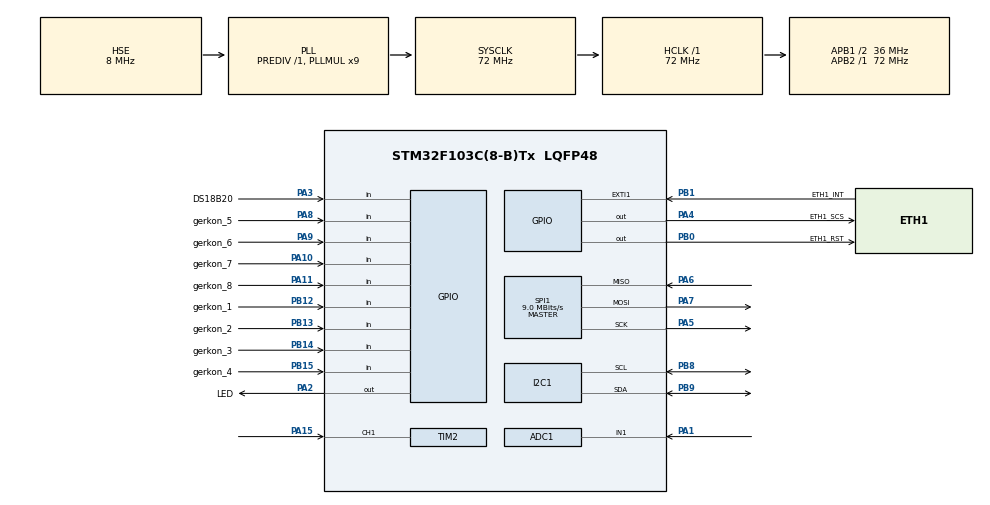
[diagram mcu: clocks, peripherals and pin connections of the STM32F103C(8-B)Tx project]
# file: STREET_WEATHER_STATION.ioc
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ADC1.Channel-2\#ChannelRegularConversion=ADC_CHANNEL_1
ADC1.NbrOfConversionFlag=1
ADC1.Rank-2\#ChannelRegularConversion=1
ADC1.SamplingTime-2\#ChannelRegularConversion=ADC_SAMPLETIME_1CYCLE_5
ADC1.master=1
I2C1.I2C_Mode=I2C_Fast
Mcu.Family=STM32F1
Mcu.Name=STM32F103C(8-B)Tx
Mcu.Package=LQFP48
NVIC.PriorityGroup=NVIC_PRIORITYGROUP_4
NVIC.TIM1_UP_IRQn=true\:0\:0\:false\:false\:true\:true\:true\:true
NVIC.TIM2_IRQn=true\:0\:0\:false\:false\:true\:true\:true\:true
NVIC.TIM4_IRQn=true\:0\:0\:false\:false\:true\:true\:true\:true
PA1.Signal=ADCx_IN1
PA10.GPIO_Label=gerkon_7
PA10.Signal=GPIO_Input
PA11.GPIO_Label=gerkon_8
PA11.Signal=GPIO_Input
PA13.Mode=Serial_Wire
PA13.Signal=SYS_JTMS-SWDIO
PA14.Mode=Serial_Wire
PA14.Signal=SYS_JTCK-SWCLK
PA15.Signal=S_TIM2_CH1_ETR
PA2.GPIO_Label=LED
PA2.Signal=GPIO_Output
PA3.GPIO_Label=DS18B20
PA3.Signal=GPIO_Input
PA4.GPIO_Label=ETH1_SCS
PA4.GPIO_PuPd=GPIO_NOPULL
PA4.PinState=GPIO_PIN_SET
PA4.Signal=GPIO_Output
PA5.Mode=Full_Duplex_Master
PA5.Signal=SPI1_SCK
PA6.Mode=Full_Duplex_Master
PA6.Signal=SPI1_MISO
PA7.Mode=Full_Duplex_Master
PA7.Signal=SPI1_MOSI
PA8.GPIO_Label=gerkon_5
PA8.Signal=GPIO_Input
PA9.GPIO_Label=gerkon_6
PA9.Signal=GPIO_Input
PB0.GPIO_Label=ETH1_RST
PB0.GPIO_PuPd=GPIO_NOPULL
PB0.PinState=GPIO_PIN_SET
PB0.Signal=GPIO_Output
PB1.GPIO_Label=ETH1_INT
PB1.GPIO_PuPd=GPIO_NOPULL
PB1.Signal=GPXTI1
PB12.GPIO_Label=gerkon_1
PB12.Signal=GPIO_Input
PB13.GPIO_Label=gerkon_2
PB13.Signal=GPIO_Input
PB14.GPIO_Label=gerkon_3
PB14.Signal=GPIO_Input
PB15.GPIO_Label=gerkon_4
PB15.Signal=GPIO_Input
PB8.Mode=I2C
PB8.Signal=I2C1_SCL
PB9.Mode=I2C
PB9.Signal=I2C1_SDA
PD0-OSC_IN.Mode=HSE-External-Oscillator
PD0-OSC_IN.Signal=RCC_OSC_IN
PD1-OSC_OUT.Mode=HSE-External-Oscillator
PD1-OSC_OUT.Signal=RCC_OSC_OUT
ProjectManager.HeapSize=0x200
ProjectManager.StackSize=0x400
ProjectManager.TargetToolchain=MDK-ARM V5.32
RCC.ADCPresc=RCC_ADCPCLK2_DIV6
RCC.AHBFreq_Value=72000000
RCC.APB1CLKDivider=RCC_HCLK_DIV2
RCC.APB1Freq_Value=36000000
RCC.APB1TimFreq_Value=72000000
RCC.APB2Freq_Value=72000000
RCC.APB2TimFreq_Value=72000000
RCC.HCLKFreq_Value=72000000
RCC.PLLMUL=RCC_PLL_MUL9
RCC.PLLSourceVirtual=RCC_PLLSOURCE_HSE
RCC.SYSCLKFreq_VALUE=72000000
RCC.SYSCLKSource=RCC_SYSCLKSOURCE_PLLCLK
RCC.USBFreq_Value=72000000
SH.ADCx_IN1.0=ADC1_IN1,IN1
SH.S_TIM2_CH1_ETR.0=TIM2_CH1,Input_Capture1_from_TI1
SPI1.BaudRatePrescaler=SPI_BAUDRATEPRESCALER_8
SPI1.CalculateBaudRate=9.0 MBits/s
SPI1.Direction=SPI_DIRECTION_2LINES
SPI1.Mode=SPI_MODE_MASTER
SPI1.VirtualType=VM_MASTER
TIM1.Period=49999
TIM1.Prescaler=7199
TIM2.Channel-Input_Capture1_from_TI1=TIM_CHANNEL_1
TIM2.ICPolarity_CH1=TIM_INPUTCHANNELPOLARITY_FALLING
TIM2.Period=29999
TIM2.Prescaler=7199
TIM2.TIM_MasterOutputTrigger=TIM_TRGO_RESET
TIM3.Prescaler=35
TIM4.Period=49999
TIM4.Prescaler=7199
TIM4.TIM_MasterOutputTrigger=TIM_TRGO_UPDATE
VP_TIM1_VS_ClockSourceINT.Mode=Internal
VP_TIM2_VS_ClockSourceINT.Mode=Internal
VP_TIM3_VS_ClockSourceINT.Mode=Internal
VP_TIM4_VS_ClockSourceINT.Mode=Internal
board=custom

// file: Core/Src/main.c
/* USER CODE BEGIN Header */
/**
  ******************************************************************************
  * @file           : main.c
  * @brief          : Main program body
  ******************************************************************************
  * @attention
  *
  * Copyright (c) 2023 STMicroelectronics.
  * All rights reserved.
  *
  * This software is licensed under terms that can be found in the LICENSE file
  * in the root directory of this software component.
  * If no LICENSE file comes with this software, it is provided AS-IS.
  *
  ******************************************************************************
  */
/* USER CODE END Header */
#include "main.h"

 ADC_HandleTypeDef hadc1;

I2C_HandleTypeDef hi2c1;

SPI_HandleTypeDef hspi1;

TIM_HandleTypeDef htim1;
TIM_HandleTypeDef htim2;
TIM_HandleTypeDef htim3;
TIM_HandleTypeDef htim4;

void SystemClock_Config(void);
static void MX_GPIO_Init(void);
static void MX_I2C1_Init(void);
static void MX_SPI1_Init(void);
static void MX_TIM2_Init(void);
static void MX_TIM4_Init(void);
static void MX_TIM3_Init(void);
static void MX_TIM1_Init(void);
static void MX_ADC1_Init(void);

/* USER CODE BEGIN 0 */
extern w5500_data w5500_1; // Настройки первой микросхемы w5500
extern w5500_data* w5500_1_ptr;
extern ram_data_struct ram_data;	//Пространство памяти ОЗУ (куда зеркализованы в т.ч. и данные из ПЗУ)
extern ram_data_struct *ram_ptr;	// Указатель на данные ОЗУ
uint8_t is_tim2_irq; // Флаг, указывающий на наличие события TIM2_IRQ
uint8_t hours_delta; // Локальный счетчик часов
/* USER CODE END 0 */

int main(void)
{

  /* MCU Configuration--------------------------------------------------------*/

  /* Reset of all peripherals, Initializes the Flash interface and the Systick. */
  HAL_Init();

  /* Configure the system clock */
  SystemClock_Config();

  /* USER CODE BEGIN SysInit */
	// Костыль, с которым не возникает проблем с инициализацией i2c
	HAL_Delay(2000);
  /* USER CODE END SysInit */

  /* Initialize all configured peripherals */
  MX_GPIO_Init();
  MX_I2C1_Init();
  MX_SPI1_Init();
  MX_TIM2_Init();
  MX_TIM4_Init();
  MX_TIM3_Init();
  MX_TIM1_Init();
  MX_ADC1_Init();
  /* USER CODE BEGIN 2 */

	// Запуск таймеров и прерываний
	HAL_TIM_Base_Start_IT(&htim1);
	HAL_TIM_Base_Start_IT(&htim2);
	HAL_TIM_Base_Start_IT(&htim4);
	HAL_TIM_Base_Start(&htim3);
	HAL_TIM_IC_Start_IT(&htim2, TIM_CHANNEL_1);

	// Калибровка АЦП
	HAL_ADCEx_Calibration_Start(&hadc1);

	// Заполнение таблицы CRC32
	fill_crc32_table();

	// Инициализация пространства памяти ПЗУ (прошиваются ПЗУ 1 раз)
#ifdef EEPROM_DEFAULT_INIT
	eeproms_first_ini(&USED_I2C);
#endif

	// Зеркализация данных из ПЗУ в ОЗУ
	eeprom_read(&USED_I2C, 0, (uint8_t*)ram_ptr, sizeof(ram_data.common.mirrored_to_rom_regs));

	// Инициализация контроллера Ethernet1 настройками из ПЗУ
	memcpy(w5500_1_ptr->ipaddr, &ram_data.common.mirrored_to_rom_regs.common.ip_addr_1, sizeof(ram_data.common.mirrored_to_rom_regs.common.ip_addr_1));
	memcpy(w5500_1_ptr->ipgate, &ram_data.common.mirrored_to_rom_regs.common.ip_gate, sizeof(ram_data.common.mirrored_to_rom_regs.common.ip_gate));
	memcpy(w5500_1_ptr->ipmask, &ram_data.common.mirrored_to_rom_regs.common.ip_mask, sizeof(ram_data.common.mirrored_to_rom_regs.common.ip_mask));
	memcpy(w5500_1_ptr->macaddr, &ram_data.common.mirrored_to_rom_regs.common.mac_addr_1, sizeof(ram_data.common.mirrored_to_rom_regs.common.mac_addr_1));
	w5500_1_ptr->spi_n = &hspi1;
	w5500_1_ptr->port_set[0].local_port = ram_data.common.mirrored_to_rom_regs.common.local_port[0];
	w5500_1_ptr->port_set[1].local_port = ram_data.common.mirrored_to_rom_regs.common.local_port[1];
	w5500_1_ptr->port_set[0].sock_num = 0;
	w5500_1_ptr->port_set[1].sock_num = 1;
	w5500_1_ptr->port_set[0].is_soc_active = 1;
	w5500_1_ptr->port_set[1].is_soc_active = 1;
	w5500_1_ptr->port_set[0].is_client = 0;
	w5500_1_ptr->port_set[1].is_client = 0;
	w5500_1_ptr->port_set[0].htim = &htim4;
	w5500_1_ptr->port_set[1].htim = &htim1;
	w5500_1_ptr->cs_eth_gpio_port = GPIOA;
	w5500_1_ptr->cs_eth_pin = GPIO_PIN_4;
	w5500_1_ptr->rst_eth_gpio_port = GPIOB;
	w5500_1_ptr->rst_eth_pin = GPIO_PIN_0;
	w5500_hardware_rst(w5500_1_ptr);
	w5500_ini(w5500_1_ptr);

	// Инициализация датчиков
	ds18b20_init(GPIOA, GPIO_PIN_3, SKIP_ROM);

  /* USER CODE END 2 */

  /* Infinite loop */
  while (1)
  {

    /* USER CODE BEGIN 3 */
		//обновление показаний датчиков
#ifdef HTU21D_DEFAULT_SENS
		if (HTU21D_get_temperature(&hi2c1, (float*)&ram_data.uniq.str_weath_stat.temperature) != HTU21D_ERROR)
			ram_data.uniq.str_weath_stat.temperature +=ram_data.common.mirrored_to_rom_regs.common.temp_correction;
#else
		if (ds18b20_get_temp(GPIOA, GPIO_PIN_3, (float*)&ram_data.uniq.str_weath_stat.temperature) != DS18B20_ERROR)
			ram_data.uniq.str_weath_stat.temperature +=ram_data.common.mirrored_to_rom_regs.common.temp_correction;
#endif
		if (HTU21D_get_humidity(&hi2c1, (float*)&ram_data.uniq.str_weath_stat.humidity) != HTU21D_ERROR)
			ram_data.uniq.str_weath_stat.humidity += ram_data.common.mirrored_to_rom_regs.common.hum_correction;
		get_wind_direct(&ram_data.uniq.str_weath_stat.wind_direct);
		ram_data.uniq.str_weath_stat.rainfall = get_rain_fall(&hadc1);

		// серверная часть (взаимодействие с raspberry)
		check_sock_connection(w5500_1_ptr, &w5500_1_ptr->port_set[0]);
		reply_iteration(w5500_1_ptr, w5500_1_ptr->port_set[0].sock_num);

		// серверная часть (взаимодействие с control panel)
		check_sock_connection(w5500_1_ptr, &w5500_1_ptr->port_set[1]);
		reply_iteration(w5500_1_ptr, w5500_1_ptr->port_set[1].sock_num);

  }
  /* USER CODE END 3 */
}

void SystemClock_Config(void)
{
  RCC_OscInitTypeDef RCC_OscInitStruct = {0};
  RCC_ClkInitTypeDef RCC_ClkInitStruct = {0};
  RCC_PeriphCLKInitTypeDef PeriphClkInit = {0};

  /** Initializes the RCC Oscillators according to the specified parameters
  * in the RCC_OscInitTypeDef structure.
  */
  RCC_OscInitStruct.OscillatorType = RCC_OSCILLATORTYPE_HSE;
  RCC_OscInitStruct.HSEState = RCC_HSE_ON;
  RCC_OscInitStruct.HSEPredivValue = RCC_HSE_PREDIV_DIV1;
  RCC_OscInitStruct.HSIState = RCC_HSI_ON;
  RCC_OscInitStruct.PLL.PLLState = RCC_PLL_ON;
  RCC_OscInitStruct.PLL.PLLSource = RCC_PLLSOURCE_HSE;
  RCC_OscInitStruct.PLL.PLLMUL = RCC_PLL_MUL9;
  if (HAL_RCC_OscConfig(&RCC_OscInitStruct) != HAL_OK)
  {
    Error_Handler();
  }

  /** Initializes the CPU, AHB and APB buses clocks
  */
  RCC_ClkInitStruct.ClockType = RCC_CLOCKTYPE_HCLK|RCC_CLOCKTYPE_SYSCLK
                              |RCC_CLOCKTYPE_PCLK1|RCC_CLOCKTYPE_PCLK2;
  RCC_ClkInitStruct.SYSCLKSource = RCC_SYSCLKSOURCE_PLLCLK;
  RCC_ClkInitStruct.AHBCLKDivider = RCC_SYSCLK_DIV1;
  RCC_ClkInitStruct.APB1CLKDivider = RCC_HCLK_DIV2;
  RCC_ClkInitStruct.APB2CLKDivider = RCC_HCLK_DIV1;

  if (HAL_RCC_ClockConfig(&RCC_ClkInitStruct, FLASH_LATENCY_2) != HAL_OK)
  {
    Error_Handler();
  }
  PeriphClkInit.PeriphClockSelection = RCC_PERIPHCLK_ADC;
  PeriphClkInit.AdcClockSelection = RCC_ADCPCLK2_DIV6;
  if (HAL_RCCEx_PeriphCLKConfig(&PeriphClkInit) != HAL_OK)
  {
    Error_Handler();
  }
}

static void MX_ADC1_Init(void)
{

  ADC_ChannelConfTypeDef sConfig = {0};

  /** Common config
  */
  hadc1.Instance = ADC1;
  hadc1.Init.ScanConvMode = ADC_SCAN_DISABLE;
  hadc1.Init.ContinuousConvMode = DISABLE;
  hadc1.Init.DiscontinuousConvMode = DISABLE;
  hadc1.Init.ExternalTrigConv = ADC_SOFTWARE_START;
  hadc1.Init.DataAlign = ADC_DATAALIGN_RIGHT;
  hadc1.Init.NbrOfConversion = 1;
  if (HAL_ADC_Init(&hadc1) != HAL_OK)
  {
    Error_Handler();
  }

  /** Configure Regular Channel
  */
  sConfig.Channel = ADC_CHANNEL_1;
  sConfig.Rank = ADC_REGULAR_RANK_1;
  sConfig.SamplingTime = ADC_SAMPLETIME_1CYCLE_5;
  if (HAL_ADC_ConfigChannel(&hadc1, &sConfig) != HAL_OK)
  {
    Error_Handler();
  }

}

static void MX_I2C1_Init(void)
{

  hi2c1.Instance = I2C1;
  hi2c1.Init.ClockSpeed = 400000;
  hi2c1.Init.DutyCycle = I2C_DUTYCYCLE_2;
  hi2c1.Init.OwnAddress1 = 0;
  hi2c1.Init.AddressingMode = I2C_ADDRESSINGMODE_7BIT;
  hi2c1.Init.DualAddressMode = I2C_DUALADDRESS_DISABLE;
  hi2c1.Init.OwnAddress2 = 0;
  hi2c1.Init.GeneralCallMode = I2C_GENERALCALL_DISABLE;
  hi2c1.Init.NoStretchMode = I2C_NOSTRETCH_DISABLE;
  if (HAL_I2C_Init(&hi2c1) != HAL_OK)
  {
    Error_Handler();
  }

}

static void MX_SPI1_Init(void)
{

  /* SPI1 parameter configuration*/
  hspi1.Instance = SPI1;
  hspi1.Init.Mode = SPI_MODE_MASTER;
  hspi1.Init.Direction = SPI_DIRECTION_2LINES;
  hspi1.Init.DataSize = SPI_DATASIZE_8BIT;
  hspi1.Init.CLKPolarity = SPI_POLARITY_LOW;
  hspi1.Init.CLKPhase = SPI_PHASE_1EDGE;
  hspi1.Init.NSS = SPI_NSS_SOFT;
  hspi1.Init.BaudRatePrescaler = SPI_BAUDRATEPRESCALER_8;
  hspi1.Init.FirstBit = SPI_FIRSTBIT_MSB;
  hspi1.Init.TIMode = SPI_TIMODE_DISABLE;
  hspi1.Init.CRCCalculation = SPI_CRCCALCULATION_DISABLE;
  hspi1.Init.CRCPolynomial = 10;
  if (HAL_SPI_Init(&hspi1) != HAL_OK)
  {
    Error_Handler();
  }

}

static void MX_TIM1_Init(void)
{

  TIM_ClockConfigTypeDef sClockSourceConfig = {0};
  TIM_MasterConfigTypeDef sMasterConfig = {0};

  htim1.Instance = TIM1;
  htim1.Init.Prescaler = 7199;
  htim1.Init.CounterMode = TIM_COUNTERMODE_UP;
  htim1.Init.Period = 49999;
  htim1.Init.ClockDivision = TIM_CLOCKDIVISION_DIV1;
  htim1.Init.RepetitionCounter = 0;
  htim1.Init.AutoReloadPreload = TIM_AUTORELOAD_PRELOAD_DISABLE;
  if (HAL_TIM_Base_Init(&htim1) != HAL_OK)
  {
    Error_Handler();
  }
  sClockSourceConfig.ClockSource = TIM_CLOCKSOURCE_INTERNAL;
  if (HAL_TIM_ConfigClockSource(&htim1, &sClockSourceConfig) != HAL_OK)
  {
    Error_Handler();
  }
  sMasterConfig.MasterOutputTrigger = TIM_TRGO_RESET;
  sMasterConfig.MasterSlaveMode = TIM_MASTERSLAVEMODE_DISABLE;
  if (HAL_TIMEx_MasterConfigSynchronization(&htim1, &sMasterConfig) != HAL_OK)
  {
    Error_Handler();
  }

}

static void MX_TIM2_Init(void)
{

  TIM_ClockConfigTypeDef sClockSourceConfig = {0};
  TIM_MasterConfigTypeDef sMasterConfig = {0};
  TIM_IC_InitTypeDef sConfigIC = {0};

  htim2.Instance = TIM2;
  htim2.Init.Prescaler = 7199;
  htim2.Init.CounterMode = TIM_COUNTERMODE_UP;
  htim2.Init.Period = 29999;
  htim2.Init.ClockDivision = TIM_CLOCKDIVISION_DIV1;
  htim2.Init.AutoReloadPreload = TIM_AUTORELOAD_PRELOAD_DISABLE;
  if (HAL_TIM_Base_Init(&htim2) != HAL_OK)
  {
    Error_Handler();
  }
  sClockSourceConfig.ClockSource = TIM_CLOCKSOURCE_INTERNAL;
  if (HAL_TIM_ConfigClockSource(&htim2, &sClockSourceConfig) != HAL_OK)
  {
    Error_Handler();
  }
  if (HAL_TIM_IC_Init(&htim2) != HAL_OK)
  {
    Error_Handler();
  }
  sMasterConfig.MasterOutputTrigger = TIM_TRGO_RESET;
  sMasterConfig.MasterSlaveMode = TIM_MASTERSLAVEMODE_DISABLE;
  if (HAL_TIMEx_MasterConfigSynchronization(&htim2, &sMasterConfig) != HAL_OK)
  {
    Error_Handler();
  }
  sConfigIC.ICPolarity = TIM_INPUTCHANNELPOLARITY_FALLING;
  sConfigIC.ICSelection = TIM_ICSELECTION_DIRECTTI;
  sConfigIC.ICPrescaler = TIM_ICPSC_DIV1;
  sConfigIC.ICFilter = 0;
  if (HAL_TIM_IC_ConfigChannel(&htim2, &sConfigIC, TIM_CHANNEL_1) != HAL_OK)
  {
    Error_Handler();
  }

}

static void MX_TIM3_Init(void)
{

  TIM_ClockConfigTypeDef sClockSourceConfig = {0};
  TIM_MasterConfigTypeDef sMasterConfig = {0};

  htim3.Instance = TIM3;
  htim3.Init.Prescaler = 35;
  htim3.Init.CounterMode = TIM_COUNTERMODE_UP;
  htim3.Init.Period = 65535;
  htim3.Init.ClockDivision = TIM_CLOCKDIVISION_DIV1;
  htim3.Init.AutoReloadPreload = TIM_AUTORELOAD_PRELOAD_DISABLE;
  if (HAL_TIM_Base_Init(&htim3) != HAL_OK)
  {
    Error_Handler();
  }
  sClockSourceConfig.ClockSource = TIM_CLOCKSOURCE_INTERNAL;
  if (HAL_TIM_ConfigClockSource(&htim3, &sClockSourceConfig) != HAL_OK)
  {
    Error_Handler();
  }
  sMasterConfig.MasterOutputTrigger = TIM_TRGO_RESET;
  sMasterConfig.MasterSlaveMode = TIM_MASTERSLAVEMODE_DISABLE;
  if (HAL_TIMEx_MasterConfigSynchronization(&htim3, &sMasterConfig) != HAL_OK)
  {
    Error_Handler();
  }

}

static void MX_TIM4_Init(void)
{

  TIM_ClockConfigTypeDef sClockSourceConfig = {0};
  TIM_MasterConfigTypeDef sMasterConfig = {0};

  htim4.Instance = TIM4;
  htim4.Init.Prescaler = 7199;
  htim4.Init.CounterMode = TIM_COUNTERMODE_UP;
  htim4.Init.Period = 49999;
  htim4.Init.ClockDivision = TIM_CLOCKDIVISION_DIV1;
  htim4.Init.AutoReloadPreload = TIM_AUTORELOAD_PRELOAD_DISABLE;
  if (HAL_TIM_Base_Init(&htim4) != HAL_OK)
  {
    Error_Handler();
  }
  sClockSourceConfig.ClockSource = TIM_CLOCKSOURCE_INTERNAL;
  if (HAL_TIM_ConfigClockSource(&htim4, &sClockSourceConfig) != HAL_OK)
  {
    Error_Handler();
  }
  sMasterConfig.MasterOutputTrigger = TIM_TRGO_UPDATE;
  sMasterConfig.MasterSlaveMode = TIM_MASTERSLAVEMODE_DISABLE;
  if (HAL_TIMEx_MasterConfigSynchronization(&htim4, &sMasterConfig) != HAL_OK)
  {
    Error_Handler();
  }

}

static void MX_GPIO_Init(void)
{
  GPIO_InitTypeDef GPIO_InitStruct = {0};

  /* GPIO Ports Clock Enable */
  __HAL_RCC_GPIOD_CLK_ENABLE();
  __HAL_RCC_GPIOA_CLK_ENABLE();
  __HAL_RCC_GPIOB_CLK_ENABLE();

  /*Configure GPIO pin Output Level */
  HAL_GPIO_WritePin(LED_GPIO_Port, LED_Pin, GPIO_PIN_RESET);

  /*Configure GPIO pin Output Level */
  HAL_GPIO_WritePin(ETH1_SCS_GPIO_Port, ETH1_SCS_Pin, GPIO_PIN_SET);

  /*Configure GPIO pin Output Level */
  HAL_GPIO_WritePin(ETH1_RST_GPIO_Port, ETH1_RST_Pin, GPIO_PIN_SET);

  /*Configure GPIO pins : LED_Pin ETH1_SCS_Pin */
  GPIO_InitStruct.Pin = LED_Pin|ETH1_SCS_Pin;
  GPIO_InitStruct.Mode = GPIO_MODE_OUTPUT_PP;
  GPIO_InitStruct.Pull = GPIO_NOPULL;
  GPIO_InitStruct.Speed = GPIO_SPEED_FREQ_LOW;
  HAL_GPIO_Init(GPIOA, &GPIO_InitStruct);

  /*Configure GPIO pins : DS18B20_Pin gerkon_5_Pin gerkon_6_Pin gerkon_7_Pin
                           gerkon_8_Pin */
  GPIO_InitStruct.Pin = DS18B20_Pin|gerkon_5_Pin|gerkon_6_Pin|gerkon_7_Pin
                          |gerkon_8_Pin;
  GPIO_InitStruct.Mode = GPIO_MODE_INPUT;
  GPIO_InitStruct.Pull = GPIO_NOPULL;
  HAL_GPIO_Init(GPIOA, &GPIO_InitStruct);

  /*Configure GPIO pin : ETH1_RST_Pin */
  GPIO_InitStruct.Pin = ETH1_RST_Pin;
  GPIO_InitStruct.Mode = GPIO_MODE_OUTPUT_PP;
  GPIO_InitStruct.Pull = GPIO_NOPULL;
  GPIO_InitStruct.Speed = GPIO_SPEED_FREQ_LOW;
  HAL_GPIO_Init(ETH1_RST_GPIO_Port, &GPIO_InitStruct);

  /*Configure GPIO pin : ETH1_INT_Pin */
  GPIO_InitStruct.Pin = ETH1_INT_Pin;
  GPIO_InitStruct.Mode = GPIO_MODE_IT_RISING;
  GPIO_InitStruct.Pull = GPIO_NOPULL;
  HAL_GPIO_Init(ETH1_INT_GPIO_Port, &GPIO_InitStruct);

  /*Configure GPIO pins : gerkon_1_Pin gerkon_2_Pin gerkon_3_Pin gerkon_4_Pin */
  GPIO_InitStruct.Pin = gerkon_1_Pin|gerkon_2_Pin|gerkon_3_Pin|gerkon_4_Pin;
  GPIO_InitStruct.Mode = GPIO_MODE_INPUT;
  GPIO_InitStruct.Pull = GPIO_NOPULL;
  HAL_GPIO_Init(GPIOB, &GPIO_InitStruct);

}

/* USER CODE BEGIN 4 */
void HAL_TIM_PeriodElapsedCallback(TIM_HandleTypeDef *htim)
{
	if (htim == &htim1)
	{
		w5500_1_ptr->port_set[1].is_soc_active = 0;
	}
	else if (htim == &htim4)
	{
		w5500_1_ptr->port_set[0].is_soc_active = 0;
	}
	else if (htim == &htim2)
	{
		is_tim2_irq = 1;
		ram_data.uniq.str_weath_stat.wind_speed = 0.0f;
	}
}

void HAL_TIM_IC_CaptureCallback(TIM_HandleTypeDef *htim)
{
	if (htim->Instance == TIM2)
  {
		if(htim->Channel == HAL_TIM_ACTIVE_CHANNEL_1)
    {
			HAL_GPIO_TogglePin(GPIOA, GPIO_PIN_2);
			TIM2->CNT = 0;
			uint16_t period = HAL_TIM_ReadCapturedValue(&htim2, TIM_CHANNEL_1);
			if ((!is_tim2_irq) && (period > 1))
			{
				float delta_t = (float)(htim->Init.Prescaler * period / 72000000.0f);
				ram_data.uniq.str_weath_stat.wind_speed = 1 / delta_t;
			}
			else
			{
				ram_data.uniq.str_weath_stat.wind_speed = 0.0f;
			}
			is_tim2_irq = 0;
    }
  }
}
/* USER CODE END 4 */

void Error_Handler(void)
{
  __disable_irq();
  while (1)
  {
  }
}
